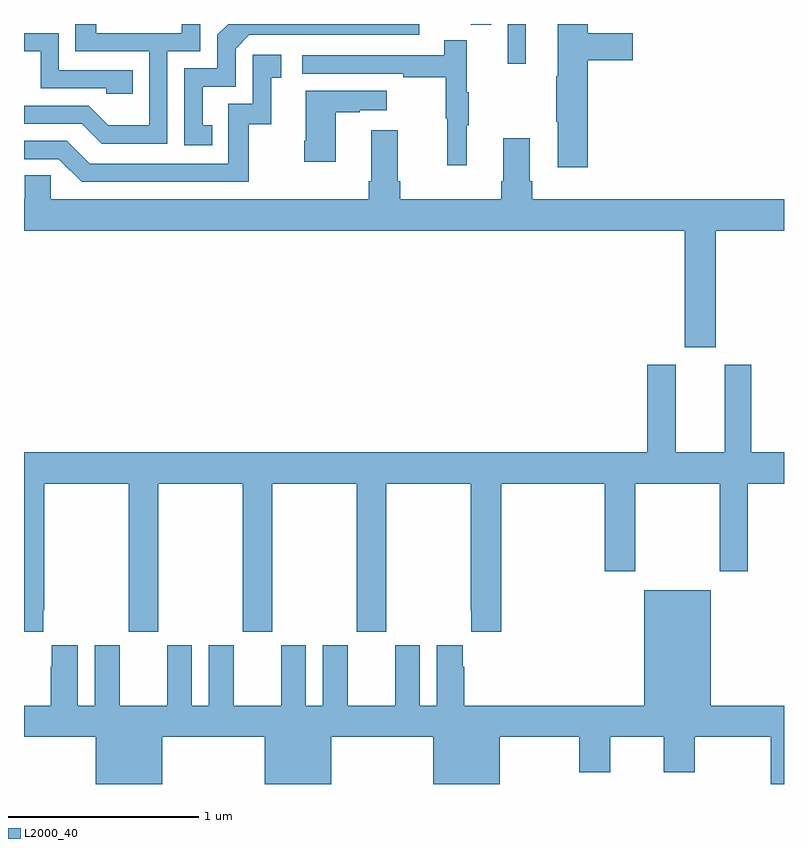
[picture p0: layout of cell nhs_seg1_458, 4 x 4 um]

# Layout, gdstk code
import gdstk
lib = gdstk.Library(unit=1e-6, precision=1e-09)
def R(c, l, rs):  # rectangles x0, y0, x1, y1
    for r in rs: c.add(gdstk.rectangle(r[:2], r[2:], *l))
def P(c, l, *ps):  # polygons
    for p in ps: c.add(gdstk.Polygon(p, *l))
L2000_40 = (2000, 40)

nhs_seg1_458 = lib.new_cell('nhs_seg1_458')
R(nhs_seg1_458, L2000_40, [(139.545,505.989,139.642,506.199), (139.352,506.194,139.46,506.199)])
P(nhs_seg1_458, L2000_40, [(137.754,506.055),(137.928,506.055),(137.928,506.199),(137.831,506.199),(137.831,506.151),(137.38,506.151),(137.38,506.199),(137.269,506.199),(137.269,506.055),(137.658,506.055),(137.658,505.666),(137.444,505.666),(137.34,505.77),(137,505.77),(137,505.674),(137.303,505.674),(137.408,505.569),(137.754,505.569)],
  [(137.99,505.665),(137.941,505.665),(137.941,505.869),(138.114,505.869),(138.114,506.07),(138.186,506.142),(139.08,506.142),(139.08,506.199),(138.075,506.199),(138.018,506.142),(138.018,505.965),(137.844,505.965),(137.844,505.56),(137.99,505.56)],
  [(139.967,506.009),(140.203,506.009),(140.203,506.151),(139.967,506.151),(139.967,506.199),(139.808,506.199),(139.808,505.925),(139.801,505.925),(139.801,505.684),(139.808,505.684),(139.808,505.446),(139.967,505.446)],
  [(137.573,505.956),(137.184,505.956),(137.184,506.151),(137,506.151),(137,506.055),(137.088,506.055),(137.088,505.86),(137.433,505.86),(137.433,505.833),(137.573,505.833)],
  [(139.331,505.667),(139.342,505.667),(139.342,505.841),(139.331,505.841),(139.331,506.113),(139.213,506.113),(139.213,506.034),(138.465,506.034),(138.465,505.938),(138.997,505.938),(138.997,505.918),(139.221,505.918),(139.221,505.704),(139.228,505.704),(139.228,505.455),(139.331,505.455)],
  [(138.184,505.671),(138.302,505.671),(138.302,505.917),(138.355,505.917),(138.355,506.038),(138.204,506.038),(138.204,505.779),(138.075,505.779),(138.075,505.464),(137.346,505.464),(137.226,505.584),(137,505.584),(137,505.488),(137.184,505.488),(137.304,505.368),(138.184,505.368)],
  [(138.64,505.735),(138.767,505.735),(138.767,505.745),(138.91,505.745),(138.91,505.849),(138.482,505.849),(138.482,505.585),(138.475,505.585),(138.475,505.473),(138.64,505.473)],
  [(140.641,505.112),(141,505.112),(141,505.276),(139.676,505.276),(139.676,505.372),(139.663,505.372),(139.663,505.597),(139.523,505.597),(139.523,505.372),(139.511,505.372),(139.511,505.276),(138.98,505.276),(138.98,505.372),(138.967,505.372),(138.967,505.639),(138.827,505.639),(138.827,505.372),(138.815,505.372),(138.815,505.276),(137.142,505.276),(137.142,505.403),(137.003,505.403),(137.003,505.276),(137,505.276),(137,505.112),(140.477,505.112),(140.477,504.498),(140.641,504.498)],
  [(137.101,503.113),(137.106,503.113),(137.106,503.78),(137.551,503.78),(137.551,503.001),(137.706,503.001),(137.706,503.78),(138.151,503.78),(138.151,503.001),(138.306,503.001),(138.306,503.78),(138.751,503.78),(138.751,503.001),(138.906,503.001),(138.906,503.78),(139.351,503.78),(139.351,503.113),(139.355,503.113),(139.355,503.001),(139.511,503.001),(139.511,503.78),(140.057,503.78),(140.057,503.319),(140.217,503.319),(140.217,503.78),(140.662,503.78),(140.662,503.319),(140.809,503.319),(140.809,503.78),(141,503.78),(141,503.944),(140.827,503.944),(140.827,504.406),(140.687,504.406),(140.687,503.944),(140.431,503.944),(140.431,504.406),(140.279,504.406),(140.279,503.944),(137,503.944),(137,503.001),(137.101,503.001)],
  [(137.728,502.448),(138.266,502.448),(138.266,502.199),(138.616,502.199),(138.616,502.448),(139.154,502.448),(139.154,502.199),(139.504,502.199),(139.504,502.448),(139.922,502.448),(139.922,502.26),(140.086,502.26),(140.086,502.448),(140.366,502.448),(140.366,502.26),(140.53,502.26),(140.53,502.448),(140.93,502.448),(140.93,502.199),(141,502.199),(141,502.612),(140.614,502.612),(140.614,503.218),(140.264,503.218),(140.264,502.612),(139.316,502.612),(139.316,502.817),(139.309,502.817),(139.309,502.93),(139.172,502.93),(139.172,502.612),(139.084,502.612),(139.084,502.93),(138.953,502.93),(138.953,502.612),(138.703,502.612),(138.703,502.93),(138.572,502.93),(138.572,502.612),(138.484,502.612),(138.484,502.93),(138.353,502.93),(138.353,502.612),(138.103,502.612),(138.103,502.93),(137.972,502.93),(137.972,502.612),(137.884,502.612),(137.884,502.93),(137.753,502.93),(137.753,502.612),(137.503,502.612),(137.503,502.93),(137.372,502.93),(137.372,502.612),(137.284,502.612),(137.284,502.93),(137.147,502.93),(137.147,502.817),(137.141,502.817),(137.141,502.612),(137,502.612),(137,502.448),(137.378,502.448),(137.378,502.199),(137.728,502.199)])

lib.write_gds('nhs_seg1_458.gds')
